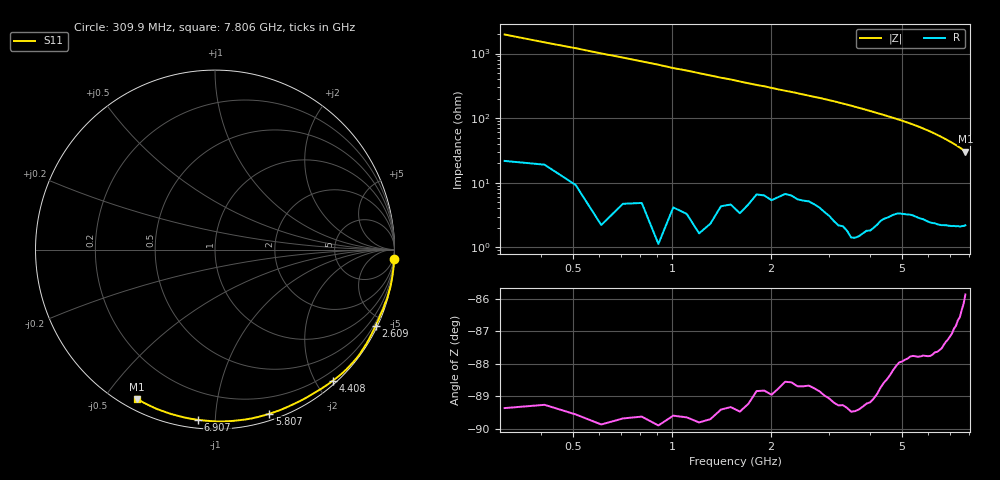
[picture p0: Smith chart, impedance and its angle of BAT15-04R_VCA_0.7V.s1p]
! Infineon Technologies  Discrete & RF Semiconductors
! BAT15-04R
! VCA = 0.7 V
! One-Port S-Parameters
# Hz  S  MA  R  50
!f  S11
!Hz  Mag  Ang
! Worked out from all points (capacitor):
!   76 points, 309.9 MHz to 7.806 GHz, reference 50 ohm
!   read as one part to ground: C = 261 fF near 309.9 MHz
!   lowest |Z| = 30.4 ohm at 7.806 GHz (marker M1)
!   S11 on the Smith chart (normalised r, x): 309.9 MHz: 0, -39; 2.609 GHz: 0.10, -4.45; 4.408 GHz: 0.06, -2.24; 5.807 GHz: 0.05, -1.38; 6.907 GHz: 0.04, -0.90; 7.806 GHz: 0.04, -0.61
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3.0985e8  0.9994 -2.9
9.0955e8  0.9998 -8.5
1.30935e9  0.9989 -12.5
1.6092e9  0.9976 -15.4
2.009e9  0.994 -19.3
2.2089e9  0.9909 -21.3
2.6087e9  0.9901 -25.3
2.8086e9  0.9908 -27.3
3.2084e9  0.9934 -31.9
3.50825e9  0.9947 -35.6
3.70815e9  0.9936 -38.2
4.10795e9  0.9889 -43.8
4.4078e9  0.9818 -48.1
4.70765e9  0.9752 -52.6
5.0075e9  0.97 -57.3
5.30735e9  0.9661 -62.4
5.6072e9  0.9648 -67.8
5.8071e9  0.9633 -71.7
6.007e9  0.9629 -75.7
6.2069e9  0.9614 -79.9
6.50675e9  0.9587 -86.6
6.70665e9  0.9559 -91.1
6.90655e9  0.9533 -95.8
7.10645e9  0.9508 -100.4
7.30635e9  0.9479 -105.2
7.50625e9  0.9451 -110.1
7.70615e9  0.9408 -115.0
7.8061e9  0.9379 -117.5
